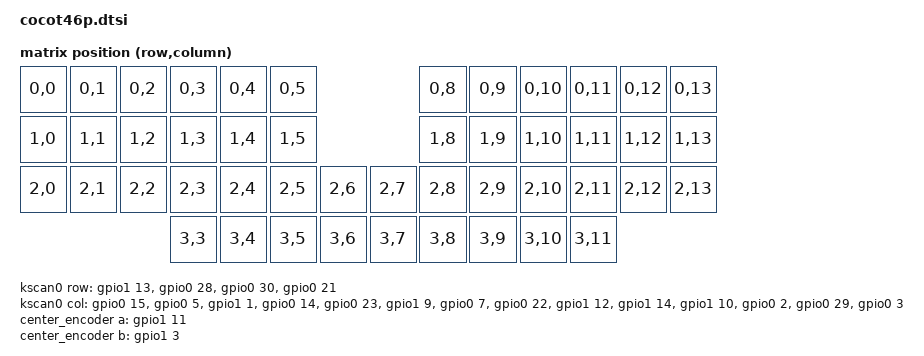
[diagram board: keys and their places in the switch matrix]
/*
 * Copyright (c) 2021 The ZMK Contributors
 *
 * SPDX-License-Identifier: MIT
 */

#include <dt-bindings/zmk/matrix_transform.h>
#include <dt-bindings/led/led.h>

#define INPUT_EV_KEY 0x01               /**< Key event */
#define INPUT_EV_REL 0x02               /**< Relative coordinate event */
#define INPUT_EV_ABS 0x03               /**< Absolute coordinate event */
#define INPUT_EV_MSC 0x04               /**< Miscellaneous event */
#define INPUT_EV_VENDOR_START 0xf0      /**< Vendor specific event start */
#define INPUT_EV_VENDOR_STOP 0xff       /**< Vendor specific event stop */

#define INPUT_REL_X 0x00                /**< Relative X coordinate */
#define INPUT_REL_Y 0x01                /**< Relative Y coordinate */
#define INPUT_REL_WHEEL 0x08            /**< Relative wheel coordinate */
#define INPUT_REL_HWHEEL 0x06           /**< Relative horizontal wheel coordinate */
#define INPUT_REL_MISC 0x09             /**< Relative misc coordinate */

/ {
    chosen {
        zmk,kscan = &kscan0;
        zmk,matrix_transform = &default_transform;
        zephyr,display = &oled;
        zmk,underglow = &led_strip;
    };

    default_transform: keymap_transform_0 {
        compatible = "zmk,matrix-transform";
        columns = <14>;
        rows = <4>;
        map = <
RC(0,0) RC(0,1) RC(0,2) RC(0,3) RC(0,4) RC(0,5)                 RC(0,8) RC(0,9) RC(0,10) RC(0,11) RC(0,12) RC(0,13)
RC(1,0) RC(1,1) RC(1,2) RC(1,3) RC(1,4) RC(1,5)                 RC(1,8) RC(1,9) RC(1,10) RC(1,11) RC(1,12) RC(1,13)
RC(2,0) RC(2,1) RC(2,2) RC(2,3) RC(2,4) RC(2,5) RC(2,6) RC(2,7) RC(2,8) RC(2,9) RC(2,10) RC(2,11) RC(2,12) RC(2,13)
                        RC(3,3) RC(3,4) RC(3,5) RC(3,6) RC(3,7) RC(3,8) RC(3,9) RC(3,10) RC(3,11)
        >;
    };

    kscan0: kscan {
        compatible = "zmk,kscan-gpio-matrix";

        diode-direction = "col2row";
		col-gpios
			= <&gpio0 15 GPIO_ACTIVE_HIGH>
			, <&gpio0 5 GPIO_ACTIVE_HIGH>
			, <&gpio1 1 GPIO_ACTIVE_HIGH>
			, <&gpio0 14 GPIO_ACTIVE_HIGH>
            , <&gpio0 23 GPIO_ACTIVE_HIGH>
			, <&gpio1 9 GPIO_ACTIVE_HIGH>
			, <&gpio0 7 GPIO_ACTIVE_HIGH>
            , <&gpio0 22 GPIO_ACTIVE_HIGH>
			, <&gpio1 12 GPIO_ACTIVE_HIGH>
			, <&gpio1 14 GPIO_ACTIVE_HIGH>
			, <&gpio1 10 GPIO_ACTIVE_HIGH>
			, <&gpio0 2 GPIO_ACTIVE_HIGH>
            , <&gpio0 29 GPIO_ACTIVE_HIGH>
            , <&gpio0 3 GPIO_ACTIVE_HIGH>
			;
		row-gpios
			= <&gpio1 13 (GPIO_ACTIVE_HIGH | GPIO_PULL_DOWN)>
			, <&gpio0 28 (GPIO_ACTIVE_HIGH | GPIO_PULL_DOWN)>
			, <&gpio0 30  (GPIO_ACTIVE_HIGH | GPIO_PULL_DOWN)>
			, <&gpio0 21 (GPIO_ACTIVE_HIGH | GPIO_PULL_DOWN)>
			;

    };

    ext-power {
        compatible = "zmk,ext-power-generic";
        label = "EXT_POWER";
        control-gpios = <&gpio0 13 GPIO_ACTIVE_HIGH>;
        init-delay-ms = <50>;
    };

     vbatt: vbatt {
        compatible = "zmk,battery-nrf-vddh";
    };

    center_encoder: encoder_center {
		compatible = "alps,ec11";
		label = "CENTER_ENCODER";
		a-gpios = <&gpio1 11 (GPIO_ACTIVE_HIGH | GPIO_PULL_UP)>;
		b-gpios = <&gpio1 3  (GPIO_ACTIVE_HIGH | GPIO_PULL_UP)>;
		resolution = <2>;
        steps = <30>;
		status = "okay";
	};
	sensors {
		compatible = "zmk,keymap-sensors";
		sensors = <&center_encoder>;
	};

};

&pinctrl {
    i2c0_default: i2c0_default {
        group1 {
            psels = <NRF_PSEL(TWIM_SDA, 0, 12)>,
                <NRF_PSEL(TWIM_SCL, 0, 11)>;
        };
    };

    i2c0_sleep: i2c0_sleep {
        group1 {
            psels = <NRF_PSEL(TWIM_SDA, 0, 12)>,
                <NRF_PSEL(TWIM_SCL, 0, 11)>;
            low-power-enable;
        };
    };	

    spi1_default: spi1_default {
        group1 {
            psels = <NRF_PSEL(SPIM_SCK, 0, 8)>,
                <NRF_PSEL(SPIM_MOSI, 0, 17)>,
                <NRF_PSEL(SPIM_MISO, 0, 17)>;
        };
    };

    spi1_sleep: spi1_sleep {
        group1 {
            psels = <NRF_PSEL(SPIM_SCK, 0, 8)>,
                <NRF_PSEL(SPIM_MOSI, 0, 17)>,
                <NRF_PSEL(SPIM_MISO, 0, 17)>;
            low-power-enable;
        };
    };

    spi3_default: spi3_default {
        group1 {
            psels = <NRF_PSEL(SPIM_MOSI, 0, 19)>; // WS2812_VEXT_DATA
        };
    };

    spi3_sleep: spi3_sleep {
        group1 {
            psels = <NRF_PSEL(SPIM_MOSI, 0, 19)>;
            low-power-enable;
        };
    };
};

&i2c0 {
	status = "okay";

	compatible = "nordic,nrf-twi";
	pinctrl-0 = <&i2c0_default>;
	pinctrl-1 = <&i2c0_sleep>;
	oled: ssd1306@3c {
        compatible = "solomon,ssd1306fb";
        reg = <0x3c>;
        width = <128>;
        height = <32>;
        segment-offset = <0>;
        page-offset = <0>;
        display-offset = <0>;
        multiplex-ratio = <31>;
        segment-remap;
        com-invdir;
        com-sequential;
        inversion-on;
        prechargep = <0x22>;
	};
};

&uart0 {
	status = "disabled";
};

&spi1 {
	compatible = "nordic,nrf-spim";
	status = "okay";
    pinctrl-0 = <&spi1_default>;
	pinctrl-1 = <&spi1_sleep>;
	pinctrl-names = "default", "sleep";
	cs-gpios = <&gpio0 20 GPIO_ACTIVE_LOW>;
	pd0: pd@0 {
		compatible = "pixart,pmw3610";
		status = "okay";
		label = "TRACKBALL0";
		reg = <0>;
		spi-max-frequency = <4000000>;
	    irq-gpios = <&gpio0 6 (GPIO_ACTIVE_LOW | GPIO_PULL_UP)>;
	    cpi = <600>;
	    evt-type = <INPUT_EV_REL>;
	    x-input-code = <INPUT_REL_X>;
	    y-input-code = <INPUT_REL_Y>;
	};
};

&spi3 {
	compatible = "nordic,nrf-spim";
	status = "okay";

	pinctrl-0 = <&spi3_default>;
	pinctrl-1 = <&spi3_sleep>;
	pinctrl-names = "default", "sleep";


	led_strip: ws2812@0 {
		compatible = "worldsemi,ws2812-spi";
		label = "WS2812";

		/* SPI */
		reg = <0>; /* ignored, but necessary for SPI bindings */
		spi-max-frequency = <4000000>;

		/* WS2812 */
		chain-length = <2>; /* There are per-key RGB, but the first 6 are underglow */
		spi-one-frame = <0x70>;
		spi-zero-frame = <0x40>;
		color-mapping = <LED_COLOR_ID_GREEN LED_COLOR_ID_RED LED_COLOR_ID_BLUE>;
	};
};

/{
  trackball_listener { 
    compatible = "zmk,input-listener";
    device = <&pd0>;
  };
};


/{
/*   auto toggle mouse key layer 
*  trackball_peripheral_auto_mouse_listener {
*        compatible = "zmk,input-behavior-listener";
*        device = <&pd0>;
*        layers = <0>;
*	evt-type = <INPUT_EV_REL>;
*	x-input-code = <INPUT_REL_X>;
*	y-input-code = <INPUT_REL_WHEEL>;
*	scale-multiplier = <1>;
*	scale-divisor = <1>;
*        bindings = <&ib_tog_layer 5>;
*   };
*/
   /* input config for mouse scroll mode on momentary mouse scoll layer */
   trackball_peripheral_scroll_listener {
           compatible = "zmk,input-behavior-listener";
           device = <&pd0>;
           layers = <2>;
           evt-type = <INPUT_EV_REL>;
           /* slienting x-axis with alt event code */
           x-input-code = <INPUT_REL_HWHEEL>;
           y-input-code = <INPUT_REL_WHEEL>;   
           /* invent scrolling direction */
           y-invert;
           /* align to CCW 45 degree */
           rotate-deg = <180>;
           scale-multiplier = <1>;
           scale-divisor = <16>;
           /* NOTE 1: This settings do not compitable with y-invert and x-invert */
           /* NOTE 2: Floating point computation requires alot of ram. */
           /*         This feature will cuase stackove flow with CONFIG_ZMK_USB_LOGGING=y *   
           /* bind a behavior to down scaling input value to (1/8) */
           /* NOTE: This behavior is different to scale-divisor. */
           /*       The delta value is accumlated until result >= 1 after cast. */
           /*       The scrolling is preented in hi-res and allow precise scrolling */
           bindings = <&ib_wheel_scaler_x 1 1600 &ib_wheel_scaler_y 1 1600>;
   };

   trackball_peripheral_snipe_listener {
          compatible = "zmk,input-behavior-listener";
          device = <&pd0>;
          layers = <4>;
          evt-type = <INPUT_EV_REL>;
          x-input-code = <INPUT_REL_X>;
          y-input-code = <INPUT_REL_Y>;
          scale-multiplier = <1>;
          scale-divisor = <1>;
          /*rotate-deg = <315>;*/
          bindings = <&ib_snipe_scaler_x 1 8 &ib_snipe_scaler_y 1 8>;
   };

   /* adjust cooldown waiting period for mouse key layer (MSK) after activated */
   ib_tog_layer: ib_tog_layer {
        compatible = "zmk,input-behavior-tog-layer";
        #binding-cells = <1>;
        time-to-live-ms = <2000>;
    };

    /* define a resolution down scaler only for INPUT_REL_WHEEL */
    ib_wheel_scaler_x: ib_wheel_scaler_x {
        compatible = "zmk,input-behavior-scaler";
        #binding-cells = <2>;
        evt-type = <INPUT_EV_REL>;
        input-code = <INPUT_REL_WHEEL>;
    };

    ib_wheel_scaler_y: ib_wheel_scaler_y {
        compatible = "zmk,input-behavior-scaler";
        #binding-cells = <2>;
        evt-type = <INPUT_EV_REL>;
        input-code = <INPUT_REL_HWHEEL>;
    };

    ib_snipe_scaler_x: ib_snipe_scaler_x {
        compatible = "zmk,input-behavior-scaler";
        #binding-cells = <2>;
        evt-type = <INPUT_EV_REL>;
        input-code = <INPUT_REL_X>;
    };

    ib_snipe_scaler_y: ib_snipe_scaler_y {
        compatible = "zmk,input-behavior-scaler";
        #binding-cells = <2>;
        evt-type = <INPUT_EV_REL>;
        input-code = <INPUT_REL_Y>;
    };
};
